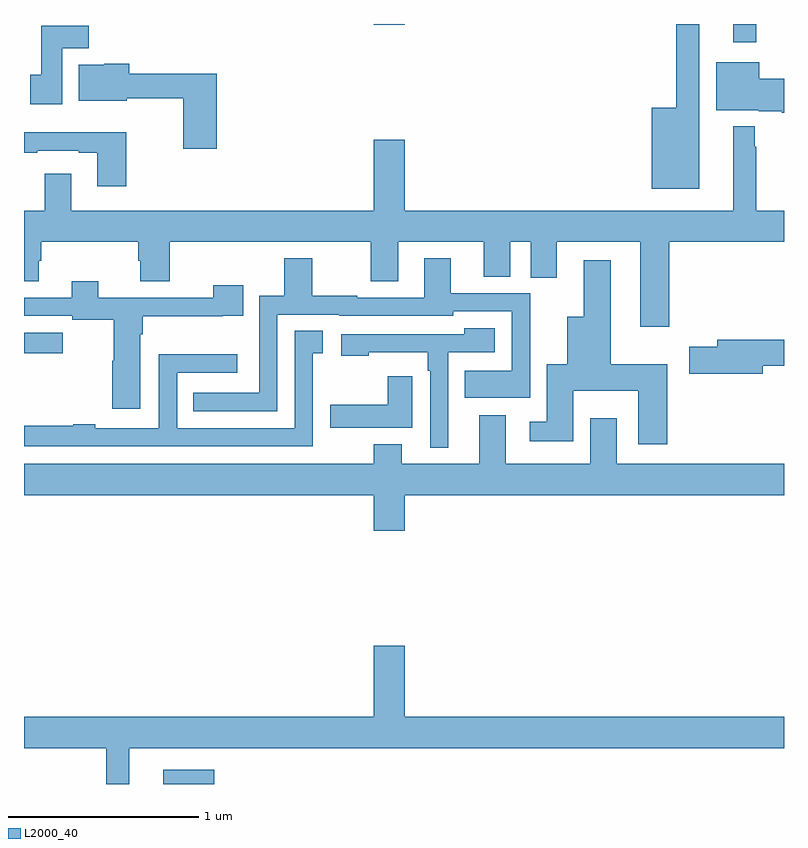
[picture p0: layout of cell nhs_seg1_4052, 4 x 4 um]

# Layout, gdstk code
import gdstk
lib = gdstk.Library(unit=1e-6, precision=1e-09)
def R(c, l, rs):  # rectangles x0, y0, x1, y1
    for r in rs: c.add(gdstk.rectangle(r[:2], r[2:], *l))
def P(c, l, *ps):  # polygons
    for p in ps: c.add(gdstk.Polygon(p, *l))
L2000_40 = (2000, 40)

nhs_seg1_4052 = lib.new_cell('nhs_seg1_4052')
R(nhs_seg1_4052, L2000_40, [(331.733,562.199,332.002,562.273), (331,564.465,331.204,564.573), (334.733,566.103,334.855,566.199), (332.84,566.196,333.004,566.199)])
P(nhs_seg1_4052, L2000_40, [(334.555,566.199),(334.434,566.199),(334.434,565.759),(334.304,565.759),(334.304,565.331),(334.555,565.331)],
  [(331.201,566.072),(331.34,566.072),(331.34,566.191),(331.091,566.191),(331.091,565.932),(331.034,565.932),(331.034,565.776),(331.201,565.776)],
  [(335,565.911),(334.87,565.911),(334.87,565.999),(334.643,565.999),(334.643,565.745),(334.866,565.745),(334.866,565.739),(334.988,565.739),(334.988,565.733),(335,565.733)],
  [(332.015,565.936),(331.553,565.936),(331.553,565.99),(331.422,565.99),(331.422,565.984),(331.289,565.984),(331.289,565.796),(331.54,565.796),(331.54,565.807),(331.837,565.807),(331.837,565.542),(332.015,565.542)],
  [(334.397,565.052),(335,565.052),(335,565.216),(334.855,565.216),(334.855,565.553),(334.847,565.553),(334.847,565.66),(334.733,565.66),(334.733,565.216),(333.004,565.216),(333.004,565.591),(332.84,565.591),(332.84,565.216),(331.249,565.216),(331.249,565.411),(331.109,565.411),(331.109,565.216),(331,565.216),(331,564.844),(331.078,564.844),(331.078,564.954),(331.091,564.954),(331.091,565.052),(331.601,565.052),(331.601,564.954),(331.613,564.954),(331.613,564.844),(331.766,564.844),(331.766,565.052),(332.824,565.052),(332.824,564.846),(332.971,564.846),(332.971,565.052),(333.419,565.052),(333.419,564.868),(333.559,564.868),(333.559,565.052),(333.666,565.052),(333.666,564.864),(333.805,564.864),(333.805,565.052),(334.244,565.052),(334.244,564.606),(334.397,564.606)],
  [(331.538,565.63),(331,565.63),(331,565.521),(331.069,565.521),(331.069,565.533),(331.289,565.533),(331.289,565.521),(331.385,565.521),(331.385,565.344),(331.538,565.344)],
  [(332.334,564.669),(332.658,564.669),(332.658,564.663),(333.258,564.663),(333.258,564.687),(333.567,564.687),(333.567,564.373),(333.319,564.373),(333.319,564.233),(333.665,564.233),(333.665,564.783),(333.247,564.783),(333.247,564.967),(333.107,564.967),(333.107,564.759),(332.754,564.759),(332.754,564.77),(332.517,564.77),(332.517,564.967),(332.369,564.967),(332.369,564.77),(332.238,564.77),(332.238,564.258),(331.891,564.258),(331.891,564.162),(332.334,564.162)],
  [(334.385,564.409),(334.087,564.409),(334.087,564.955),(333.947,564.955),(333.947,564.658),(333.86,564.658),(333.86,564.409),(333.752,564.409),(333.752,564.106),(333.663,564.106),(333.663,564.002),(333.892,564.002),(333.892,564.269),(334.232,564.269),(334.232,563.988),(334.385,563.988)],
  [(331.612,564.566),(331.625,564.566),(331.625,564.662),(332.045,564.662),(332.045,564.663),(332.153,564.663),(332.153,564.823),(331.997,564.823),(331.997,564.759),(331.39,564.759),(331.39,564.844),(331.25,564.844),(331.25,564.759),(331,564.759),(331,564.663),(331.254,564.663),(331.254,564.643),(331.472,564.643),(331.472,564.426),(331.465,564.426),(331.465,564.174),(331.612,564.174)],
  [(333.234,564.471),(333.478,564.471),(333.478,564.598),(333.317,564.598),(333.317,564.567),(332.67,564.567),(332.67,564.452),(332.814,564.452),(332.814,564.471),(333.126,564.471),(333.126,564.374),(333.138,564.374),(333.138,563.97),(333.234,563.97)],
  [(332.52,564.466),(332.572,564.466),(332.572,564.584),(332.424,564.584),(332.424,564.072),(331.806,564.072),(331.806,564.363),(332.122,564.363),(332.122,564.461),(331.71,564.461),(331.71,564.072),(331.376,564.072),(331.376,564.092),(331.26,564.092),(331.26,564.085),(331,564.085),(331,563.976),(332.52,563.976)],
  [(334.888,564.4),(335,564.4),(335,564.536),(334.649,564.536),(334.649,564.5),(334.5,564.5),(334.5,564.358),(334.888,564.358)],
  [(333.043,564.346),(332.914,564.346),(332.914,564.196),(332.613,564.196),(332.613,564.074),(333.043,564.074)],
  [(333.004,563.72),(335,563.72),(335,563.884),(334.12,563.884),(334.12,564.124),(333.98,564.124),(333.98,563.884),(333.535,563.884),(333.535,564.139),(333.395,564.139),(333.395,563.884),(332.989,563.884),(332.989,563.986),(332.842,563.986),(332.842,563.884),(331,563.884),(331,563.72),(332.84,563.72),(332.84,563.532),(333.004,563.532)],
  [(331.555,562.388),(335,562.388),(335,562.552),(333.004,562.552),(333.004,562.927),(332.84,562.927),(332.84,562.552),(331,562.552),(331,562.388),(331.434,562.388),(331.434,562.199),(331.555,562.199)])

lib.write_gds('nhs_seg1_4052.gds')
